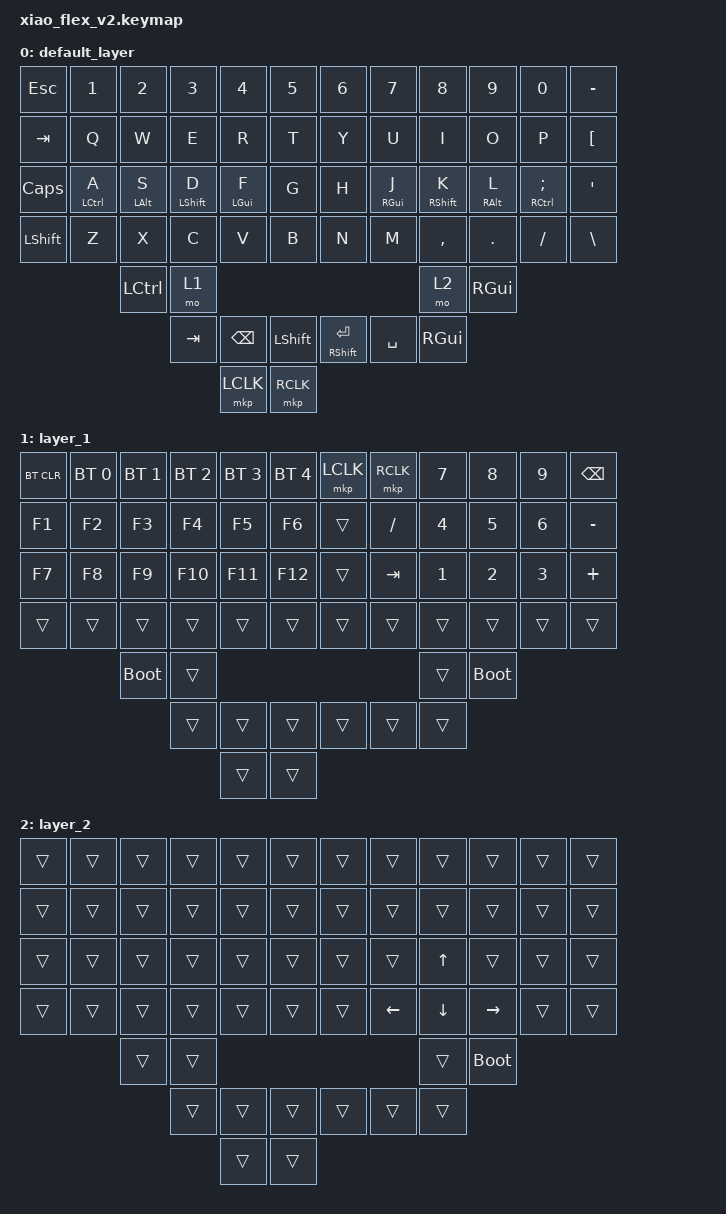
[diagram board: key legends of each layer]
/*
 * Copyright (c) 2020 The ZMK Contributors
 *
 * SPDX-License-Identifier: MIT
 */

#include <dt-bindings/led/led.h>
#include <behaviors/mouse_keys.dtsi>
#include <behaviors.dtsi>
#include <dt-bindings/zmk/bt.h>
#include <dt-bindings/zmk/keys.h>
#include <dt-bindings/zmk/mouse.h>

/ {
    keymap {
        compatible = "zmk,keymap";

        default_layer {
            bindings = <
&kp ESC    &kp N1       &kp N2          &kp N3            &kp N4          &kp N5            &kp N6                 &kp N7           &kp N8             &kp N9           &kp N0               &kp MINUS
&kp TAB    &kp Q        &kp W           &kp E             &kp R           &kp T             &kp Y                  &kp U            &kp I              &kp O            &kp P                &kp LBKT
&kp CAPS   &mt LCTRL A  &mt LEFT_ALT S  &mt LEFT_SHIFT D  &mt LEFT_GUI F  &kp G             &kp H                  &mt RIGHT_GUI J  &mt RIGHT_SHIFT K  &mt RIGHT_ALT L  &mt RCTRL SEMICOLON  &kp SQT
&kp LSHFT  &kp Z        &kp X           &kp C             &kp V           &kp B             &kp N                  &kp M            &kp COMMA          &kp DOT          &kp FSLH             &kp BSLH
                        &kp LCTRL       &mo 1                                                                                       &mo 2              &kp RGUI
                                        &kp TAB           &kp BACKSPACE   &kp LEFT_SHIFT    &mt RIGHT_SHIFT ENTER  &kp SPACE        &kp RGUI
                                                          &mkp LCLK       &mkp RCLK
            >;
        };

        layer_1 {
            bindings = <
&bt BT_CLR  &bt BT_SEL 0  &bt BT_SEL 1  &bt BT_SEL 2  &bt BT_SEL 3  &bt BT_SEL 4    &mkp LCLK  &mkp RCLK  &kp N7  &kp N8       &kp N9  &kp BSPC
&kp F1      &kp F2        &kp F3        &kp F4        &kp F5        &kp F6          &trans     &kp FSLH   &kp N4  &kp N5       &kp N6  &kp MINUS
&kp F7      &kp F8        &kp F9        &kp F10       &kp F11       &kp F12         &trans     &kp TAB    &kp N1  &kp N2       &kp N3  &kp PLUS
&trans      &trans        &trans        &trans        &trans        &trans          &trans     &trans     &trans  &trans       &trans  &trans
                          &bootloader   &trans                                                            &trans  &bootloader
                                        &trans        &trans        &trans          &trans     &trans     &trans
                                                      &trans        &trans
            >;
        };

        layer_2 {
            bindings = <
&trans  &trans  &trans  &trans  &trans  &trans    &trans  &trans    &trans    &trans       &trans  &trans
&trans  &trans  &trans  &trans  &trans  &trans    &trans  &trans    &trans    &trans       &trans  &trans
&trans  &trans  &trans  &trans  &trans  &trans    &trans  &trans    &kp UP    &trans       &trans  &trans
&trans  &trans  &trans  &trans  &trans  &trans    &trans  &kp LEFT  &kp DOWN  &kp RIGHT    &trans  &trans
                &trans  &trans                                      &trans    &bootloader
                        &trans  &trans  &trans    &trans  &trans    &trans
                                &trans  &trans
            >;
        };
    };
};
